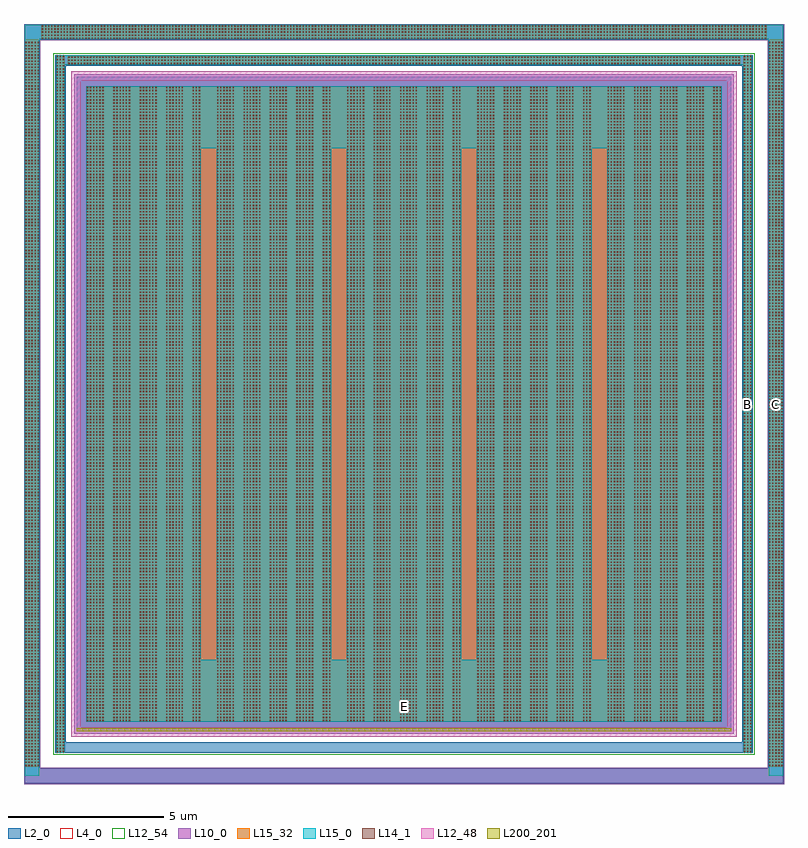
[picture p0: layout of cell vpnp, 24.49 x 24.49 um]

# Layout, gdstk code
import gdstk
lib = gdstk.Library(unit=1e-6, precision=1e-09)
def R(c, l, rs):  # rectangles x0, y0, x1, y1
    for r in rs: c.add(gdstk.rectangle(r[:2], r[2:], *l))
def A(c, l, x, y, w, h, nx, ny, dx, dy):  # array of equal rectangles
    R(c, l, [(x+i*dx, y+j*dy, x+i*dx+w, y+j*dy+h) for i in range(nx) for j in range(ny)])
L2_0 = (2, 0)
L4_0 = (4, 0)
L10_0 = (10, 0)
L12_48 = (12, 48)
L12_54 = (12, 54)
L14_1 = (14, 1)
L15_0 = (15, 0)
L15_32 = (15, 32)
L200_201 = (200, 201)

vpnp = lib.new_cell('vpnp')
R(vpnp, L2_0, [(-18.729,-10.759,5.723,-10.279), (-18.729,-10.279,-18.249,13.213), (5.243,-10.279,5.723,13.213), (-17.749,-9.779,4.743,-9.439), (-17.749,-9.439,-17.409,12.373), (4.403,-9.439,4.743,12.373), (-17.053,-9.083,4.047,12.017), (-17.749,12.373,4.743,12.713), (-18.729,13.213,5.723,13.693)])
R(vpnp, L4_0, [(-17.805,-9.835,4.799,12.769)])
R(vpnp, L10_0, [(-18.75,-10.78,5.744,-10.258), (-18.75,-10.258,-18.228,13.192), (5.222,-10.258,5.744,13.192), (-17.123,-9.153,4.117,12.087), (-18.75,13.192,5.744,13.714)])
R(vpnp, L12_48, [(-17.234,-9.264,4.228,-8.958), (-17.234,-8.958,-16.928,11.892), (3.922,-8.958,4.228,11.892), (-17.234,11.892,4.228,12.198)])
R(vpnp, L12_54, [(-17.805,-9.835,4.799,12.769)])
A(vpnp, L14_1, -18.709, -10.203, 0.04, 0.04, 5, 234, 0.1, 0.1)
A(vpnp, L14_1, 5.263, -10.203, 0.04, 0.04, 5, 234, 0.1, 0.1)
A(vpnp, L14_1, -17.699, -9.753, 0.04, 0.04, 3, 225, 0.1, 0.1)
A(vpnp, L14_1, 4.453, -9.753, 0.04, 0.04, 3, 225, 0.1, 0.1)
A(vpnp, L14_1, -16.723, -8.753, 0.04, 0.04, 6, 205, 0.1, 0.1)
A(vpnp, L14_1, -15.871, -8.753, 0.04, 0.04, 6, 205, 0.1, 0.1)
A(vpnp, L14_1, -15.019, -8.753, 0.04, 0.04, 6, 205, 0.1, 0.1)
A(vpnp, L14_1, -14.167, -8.753, 0.04, 0.04, 6, 205, 0.1, 0.1)
A(vpnp, L14_1, -13.315, -8.753, 0.04, 0.04, 3, 205, 0.1, 0.1)
A(vpnp, L14_1, -12.527, -8.753, 0.04, 0.04, 6, 205, 0.1, 0.1)
A(vpnp, L14_1, -11.675, -8.753, 0.04, 0.04, 6, 205, 0.1, 0.1)
A(vpnp, L14_1, -10.823, -8.753, 0.04, 0.04, 6, 205, 0.1, 0.1)
A(vpnp, L14_1, -9.971, -8.753, 0.04, 0.04, 6, 205, 0.1, 0.1)
A(vpnp, L14_1, -9.119, -8.753, 0.04, 0.04, 3, 205, 0.1, 0.1)
A(vpnp, L14_1, -8.332, -8.753, 0.04, 0.04, 6, 205, 0.1, 0.1)
A(vpnp, L14_1, -7.48, -8.753, 0.04, 0.04, 6, 205, 0.1, 0.1)
A(vpnp, L14_1, -6.628, -8.753, 0.04, 0.04, 6, 205, 0.1, 0.1)
A(vpnp, L14_1, -5.776, -8.753, 0.04, 0.04, 6, 205, 0.1, 0.1)
A(vpnp, L14_1, -4.924, -8.753, 0.04, 0.04, 3, 205, 0.1, 0.1)
A(vpnp, L14_1, -4.137, -8.753, 0.04, 0.04, 6, 205, 0.1, 0.1)
A(vpnp, L14_1, -3.285, -8.753, 0.04, 0.04, 6, 205, 0.1, 0.1)
A(vpnp, L14_1, -2.433, -8.753, 0.04, 0.04, 6, 205, 0.1, 0.1)
A(vpnp, L14_1, -1.581, -8.753, 0.04, 0.04, 6, 205, 0.1, 0.1)
A(vpnp, L14_1, -0.729, -8.753, 0.04, 0.04, 3, 205, 0.1, 0.1)
A(vpnp, L14_1, 0.058, -8.753, 0.04, 0.04, 6, 205, 0.1, 0.1)
A(vpnp, L14_1, 0.91, -8.753, 0.04, 0.04, 6, 205, 0.1, 0.1)
A(vpnp, L14_1, 1.762, -8.753, 0.04, 0.04, 6, 205, 0.1, 0.1)
A(vpnp, L14_1, 2.614, -8.753, 0.04, 0.04, 6, 205, 0.1, 0.1)
A(vpnp, L14_1, 3.466, -8.753, 0.04, 0.04, 3, 205, 0.1, 0.1)
A(vpnp, L14_1, -17.323, 12.423, 0.04, 0.04, 217, 3, 0.1, 0.1)
A(vpnp, L14_1, -18.173, 13.233, 0.04, 0.04, 234, 5, 0.1, 0.1)
A(vpnp, L15_0, -12.545, -6.771, 3.695, 16.476, 4, 1, 4.195, 0)
R(vpnp, L15_0, [(-18.727,-10.519,-18.251,13.691), (5.245,-10.519,5.721,13.691), (-17.717,-9.771,-17.441,12.705), (4.435,-9.771,4.711,12.705), (-16.741,-8.771,3.735,-6.771), (-16.741,-6.771,-13.046,9.705), (-16.741,9.705,3.735,11.705), (-17.441,12.405,4.435,12.705), (-18.251,13.215,5.245,13.691)])
R(vpnp, L15_32, [(-18.727,-10.221,-18.251,13.215), (5.245,-10.221,5.721,13.215), (-17.717,-9.771,-17.441,12.705), (4.435,-9.771,4.711,12.705), (-16.741,-8.771,3.735,11.705), (-17.341,12.405,4.335,12.681), (-18.191,13.215,5.185,13.691)])
R(vpnp, L200_201, [(-17.053,-9.083,4.047,-8.983)])
vpnp.add(gdstk.Label('E', (-6.503,-8.271), layer=15, texttype=20))
vpnp.add(gdstk.Label('B', (4.573,1.467), layer=15, texttype=20))
vpnp.add(gdstk.Label('C', (5.483,1.467), layer=15, texttype=20))

lib.write_gds('vpnp.gds')
